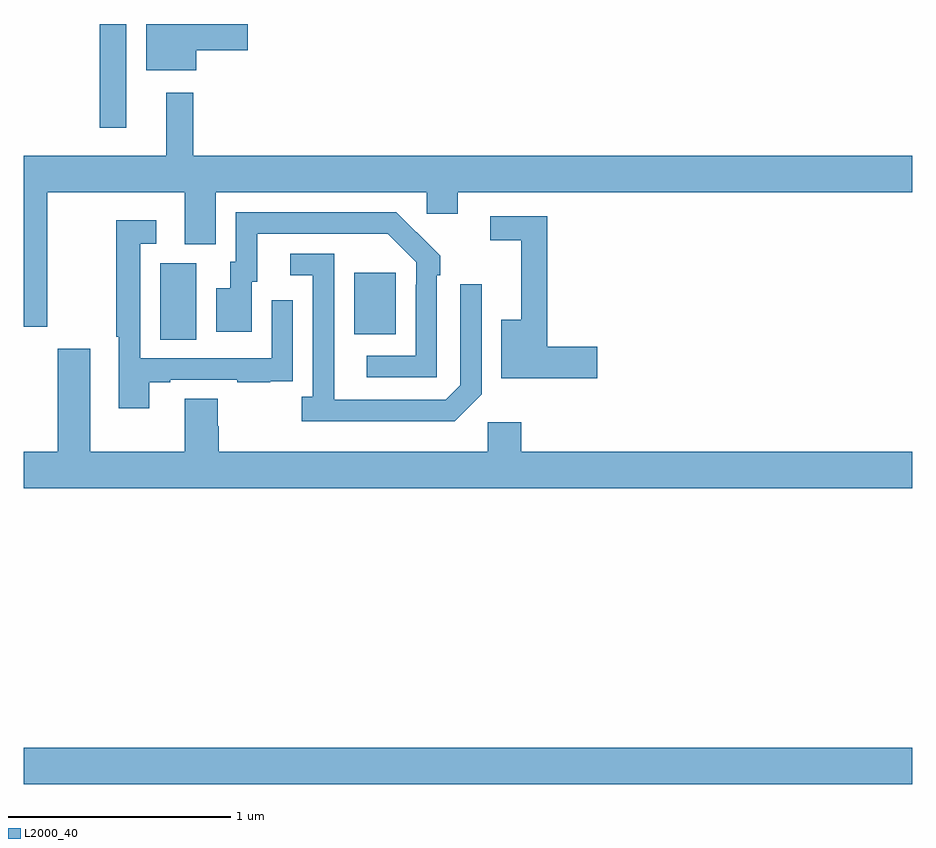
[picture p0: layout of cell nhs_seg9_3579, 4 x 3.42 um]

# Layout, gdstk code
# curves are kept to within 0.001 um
import gdstk
lib = gdstk.Library(unit=1e-6, precision=1e-09)
def R(c, l, rs):  # rectangles x0, y0, x1, y1
    for r in rs: c.add(gdstk.rectangle(r[:2], r[2:], *l))
def P(c, l, *ps):  # polygons
    for p in ps: c.add(gdstk.Polygon(p, *l))
L2000_40 = (2000, 40)

nhs_seg9_3579 = lib.new_cell('nhs_seg9_3579')
R(nhs_seg9_3579, L2000_40, [(315,1203.08,319,1203.244), (315.614,1205.08,315.778,1205.424), (316.487,1205.105,316.675,1205.38), (315.342,1206.033,315.463,1206.5)])
P(nhs_seg9_3579, L2000_40, [(315.778,1206.382),(316.009,1206.382),(316.009,1206.5),(315.551,1206.5),(315.551,1206.293),(315.778,1206.293)],
  [(315.106,1205.744),(315.725,1205.744),(315.725,1205.509),(315.865,1205.509),(315.865,1205.744),(316.815,1205.744),(316.815,1205.646),(316.954,1205.646),(316.954,1205.744),(319,1205.744),(319,1205.908),(315.763,1205.908),(315.763,1206.19),(315.641,1206.19),(315.641,1205.908),(315,1205.908),(315,1205.138),(315.106,1205.138)],
  [(316.86,1205.369),(316.875,1205.369),(316.875,1205.457),(316.678,1205.652),(315.954,1205.652),(315.954,1205.43),(315.929,1205.43),(315.929,1205.311),(315.866,1205.311),(315.866,1205.115),(316.027,1205.115),(316.027,1205.34),(316.051,1205.34),(316.051,1205.556),(316.639,1205.556),(316.767,1205.427),(316.767,1205.327),(316.764,1205.327),(316.764,1205.007),(316.545,1205.007),(316.545,1204.911),(316.86,1204.911)],
  [(317.581,1205.048),(317.357,1205.048),(317.357,1205.634),(317.1,1205.634),(317.1,1205.526),(317.24,1205.526),(317.24,1205.17),(317.15,1205.17),(317.15,1204.906),(317.581,1204.906)],
  [(315.565,1204.887),(315.661,1204.887),(315.661,1204.899),(315.961,1204.899),(315.961,1204.887),(316.109,1204.887),(316.109,1204.893),(316.211,1204.893),(316.211,1205.002),(316.212,1205.002),(316.212,1205.257),(316.116,1205.257),(316.116,1204.995),(315.525,1204.995),(315.525,1205.511),(315.598,1205.511),(315.598,1205.617),(315.417,1205.617),(315.417,1205.092),(315.429,1205.092),(315.429,1204.77),(315.565,1204.77)],
  [(317.061,1204.833),(317.061,1205.329),(316.965,1205.329),(316.965,1204.875),(316.899,1204.809),(316.399,1204.809),(316.398,1205.466),(316.2,1205.466),(316.2,1205.37),(316.302,1205.37),(316.302,1204.822),(316.251,1204.822),(316.251,1204.712),(316.94,1204.712)],
  [(319,1204.576),(317.24,1204.576),(317.24,1204.708),(317.088,1204.708),(317.088,1204.576),(315.878,1204.576),(315.878,1204.689),(315.873,1204.689),(315.873,1204.814),(315.725,1204.814),(315.725,1204.576),(315.301,1204.576),(315.301,1205.038),(315.154,1205.038),(315.154,1204.576),(315,1204.576),(315,1204.412),(319,1204.412)])

lib.write_gds('nhs_seg9_3579.gds')
